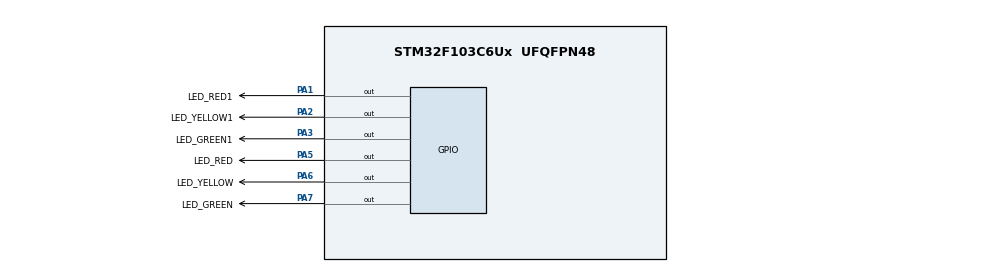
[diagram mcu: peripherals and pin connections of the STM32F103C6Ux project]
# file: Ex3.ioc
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Mcu.Family=STM32F1
Mcu.Name=STM32F103C6Ux
Mcu.Package=UFQFPN48
NVIC.PriorityGroup=NVIC_PRIORITYGROUP_4
PA1.GPIO_Label=LED_RED1
PA1.Signal=GPIO_Output
PA2.GPIO_Label=LED_YELLOW1
PA2.Signal=GPIO_Output
PA3.GPIO_Label=LED_GREEN1
PA3.Signal=GPIO_Output
PA5.GPIO_Label=LED_RED
PA5.Signal=GPIO_Output
PA6.GPIO_Label=LED_YELLOW
PA6.Signal=GPIO_Output
PA7.GPIO_Label=LED_GREEN
PA7.Signal=GPIO_Output
ProjectManager.HeapSize=0x200
ProjectManager.StackSize=0x400
ProjectManager.TargetToolchain=STM32CubeIDE
RCC.APB1Freq_Value=8000000
RCC.APB2Freq_Value=8000000
VP_SYS_VS_ND.Mode=No_Debug
board=custom

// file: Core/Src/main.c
/* USER CODE BEGIN Header */
/**
  ******************************************************************************
  * @file           : main.c
  * @brief          : Main program body
  ******************************************************************************
  * @attention
  *
  * <h2><center>&copy; Copyright (c) 2022 STMicroelectronics.
  * All rights reserved.</center></h2>
  *
  * This software component is licensed by ST under BSD 3-Clause license,
  * the "License"; You may not use this file except in compliance with the
  * License. You may obtain a copy of the License at:
  *                        opensource.org/licenses/BSD-3-Clause
  *
  ******************************************************************************
  */
/* USER CODE END Header */
#include "main.h"

void SystemClock_Config(void);
static void MX_GPIO_Init(void);

void traffic_light(char state){
	  if (state == 'g'){ 	//green turns on
		  HAL_GPIO_WritePin ( LED_GREEN_GPIO_Port , LED_GREEN_Pin ,
		  GPIO_PIN_RESET ) ;
		  HAL_GPIO_WritePin ( LED_RED_GPIO_Port , LED_RED_Pin ,
		  GPIO_PIN_SET ) ;
		  HAL_GPIO_WritePin ( LED_YELLOW_GPIO_Port , LED_YELLOW_Pin ,
		  GPIO_PIN_SET ) ;
	  }

	  if (state == 'y'){ 	//yellow turns on
		  HAL_GPIO_WritePin ( LED_YELLOW_GPIO_Port , LED_YELLOW_Pin ,
		  GPIO_PIN_RESET ) ;
		  HAL_GPIO_WritePin ( LED_GREEN_GPIO_Port , LED_GREEN_Pin ,
		  GPIO_PIN_SET ) ;
		  HAL_GPIO_WritePin ( LED_RED_GPIO_Port , LED_RED_Pin ,
		  GPIO_PIN_SET ) ;
	  }

	  if( state == 'r') { 	//red turns on
		  HAL_GPIO_WritePin ( LED_RED_GPIO_Port , LED_RED_Pin ,
		  GPIO_PIN_RESET ) ;
		  HAL_GPIO_WritePin ( LED_YELLOW_GPIO_Port , LED_YELLOW_Pin ,
		  GPIO_PIN_SET ) ;
		  HAL_GPIO_WritePin ( LED_GREEN_GPIO_Port , LED_GREEN_Pin ,
		  GPIO_PIN_SET ) ;
	  }
}

void traffic_light1(char state){
	  if (state == 'g'){ 	//green turns on
		  HAL_GPIO_WritePin ( LED_GREEN1_GPIO_Port , LED_GREEN1_Pin ,
		  GPIO_PIN_RESET ) ;
		  HAL_GPIO_WritePin ( LED_RED1_GPIO_Port , LED_RED1_Pin ,
		  GPIO_PIN_SET ) ;
		  HAL_GPIO_WritePin ( LED_YELLOW1_GPIO_Port , LED_YELLOW1_Pin ,
		  GPIO_PIN_SET ) ;
	  }

	  if (state == 'y'){ 	//yellow turns on
		  HAL_GPIO_WritePin ( LED_YELLOW1_GPIO_Port , LED_YELLOW1_Pin ,
		  GPIO_PIN_RESET ) ;
		  HAL_GPIO_WritePin ( LED_GREEN1_GPIO_Port , LED_GREEN1_Pin ,
		  GPIO_PIN_SET ) ;
		  HAL_GPIO_WritePin ( LED_RED1_GPIO_Port , LED_RED1_Pin ,
		  GPIO_PIN_SET ) ;
	  }

	  if( state == 'r') { 	//red turns on
		  HAL_GPIO_WritePin ( LED_RED1_GPIO_Port , LED_RED1_Pin ,
		  GPIO_PIN_RESET ) ;
		  HAL_GPIO_WritePin ( LED_YELLOW1_GPIO_Port , LED_YELLOW1_Pin ,
		  GPIO_PIN_SET ) ;
		  HAL_GPIO_WritePin ( LED_GREEN1_GPIO_Port , LED_GREEN1_Pin ,
		  GPIO_PIN_SET ) ;
	  }
}

int main(void)
{

  /* MCU Configuration--------------------------------------------------------*/

  /* Reset of all peripherals, Initializes the Flash interface and the Systick. */
  HAL_Init();

  /* Configure the system clock */
  SystemClock_Config();

  /* Initialize all configured peripherals */
  MX_GPIO_Init();

  /* Infinite loop */
  /* USER CODE BEGIN WHILE */
  int counter = 0;
  char state = 'r';
  char state1 = 'g';
  while (1)
  {
	  switch (counter) {
		case 3:
			state1 = 'y';
			break;
		case 5:
			state = 'g';
			state1 = 'r';
			break;
		case 8:
			state = 'y';
			break;
		case 10:
			state = 'r';
			state1 = 'g';
			counter = 0;
			break;
		default:
			state = state;
			state1 = state1;
			break;
	  }

	  traffic_light(state);
	  traffic_light1(state1);
	  counter++;
	  HAL_Delay(1000);
    /* USER CODE END WHILE */

  }
}

void SystemClock_Config(void)
{
  RCC_OscInitTypeDef RCC_OscInitStruct = {0};
  RCC_ClkInitTypeDef RCC_ClkInitStruct = {0};

  /** Initializes the RCC Oscillators according to the specified parameters
  * in the RCC_OscInitTypeDef structure.
  */
  RCC_OscInitStruct.OscillatorType = RCC_OSCILLATORTYPE_HSI;
  RCC_OscInitStruct.HSIState = RCC_HSI_ON;
  RCC_OscInitStruct.HSICalibrationValue = RCC_HSICALIBRATION_DEFAULT;
  RCC_OscInitStruct.PLL.PLLState = RCC_PLL_NONE;
  if (HAL_RCC_OscConfig(&RCC_OscInitStruct) != HAL_OK)
  {
    Error_Handler();
  }
  /** Initializes the CPU, AHB and APB buses clocks
  */
  RCC_ClkInitStruct.ClockType = RCC_CLOCKTYPE_HCLK|RCC_CLOCKTYPE_SYSCLK
                              |RCC_CLOCKTYPE_PCLK1|RCC_CLOCKTYPE_PCLK2;
  RCC_ClkInitStruct.SYSCLKSource = RCC_SYSCLKSOURCE_HSI;
  RCC_ClkInitStruct.AHBCLKDivider = RCC_SYSCLK_DIV1;
  RCC_ClkInitStruct.APB1CLKDivider = RCC_HCLK_DIV1;
  RCC_ClkInitStruct.APB2CLKDivider = RCC_HCLK_DIV1;

  if (HAL_RCC_ClockConfig(&RCC_ClkInitStruct, FLASH_LATENCY_0) != HAL_OK)
  {
    Error_Handler();
  }
}

static void MX_GPIO_Init(void)
{
  GPIO_InitTypeDef GPIO_InitStruct = {0};

  /* GPIO Ports Clock Enable */
  __HAL_RCC_GPIOA_CLK_ENABLE();

  /*Configure GPIO pin Output Level */
  HAL_GPIO_WritePin(GPIOA, LED_RED1_Pin|LED_YELLOW1_Pin|LED_GREEN1_Pin|LED_RED_Pin
                          |LED_YELLOW_Pin|LED_GREEN_Pin, GPIO_PIN_RESET);

  /*Configure GPIO pins : LED_RED1_Pin LED_YELLOW1_Pin LED_GREEN1_Pin LED_RED_Pin
                           LED_YELLOW_Pin LED_GREEN_Pin */
  GPIO_InitStruct.Pin = LED_RED1_Pin|LED_YELLOW1_Pin|LED_GREEN1_Pin|LED_RED_Pin
                          |LED_YELLOW_Pin|LED_GREEN_Pin;
  GPIO_InitStruct.Mode = GPIO_MODE_OUTPUT_PP;
  GPIO_InitStruct.Pull = GPIO_NOPULL;
  GPIO_InitStruct.Speed = GPIO_SPEED_FREQ_LOW;
  HAL_GPIO_Init(GPIOA, &GPIO_InitStruct);

}

void Error_Handler(void)
{
  __disable_irq();
  while (1)
  {
  }
}

/************************ (C) COPYRIGHT STMicroelectronics *****END OF FILE****/
